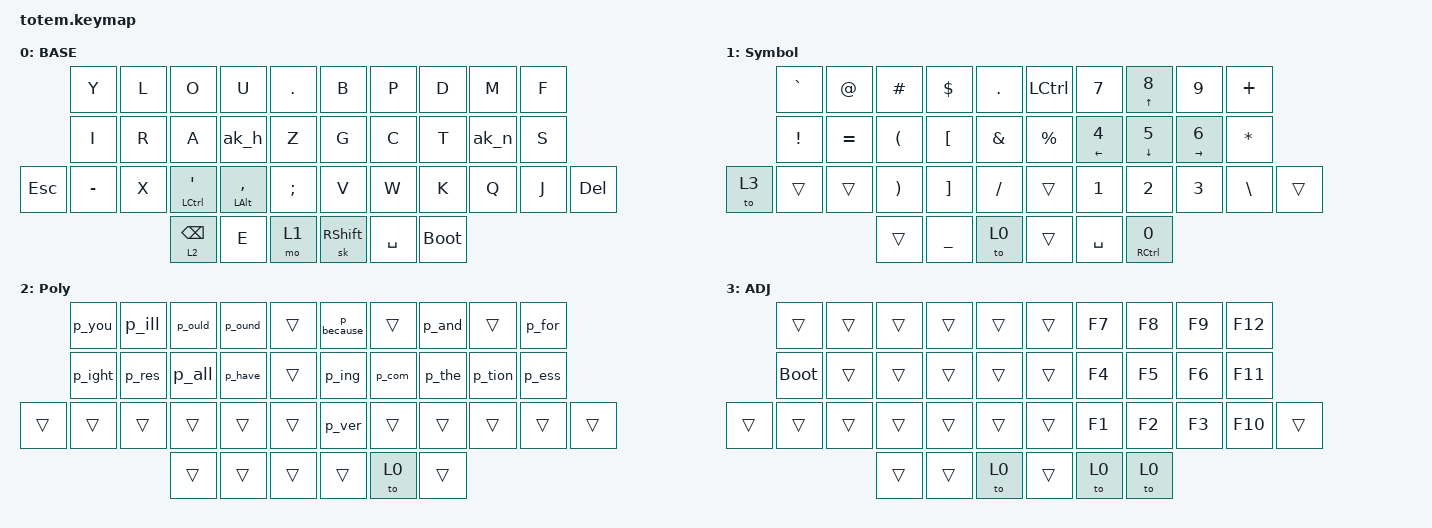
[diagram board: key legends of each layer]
#include <behaviors.dtsi>
#include <dt-bindings/zmk/keys.h>

#define BASE 0
#define NAV  1
#define SYM  2
#define ADJ  3
#define TVP1 4
#define TVP2 5


#define AK_IDLE_MS 850

&mt {
    quick-tap-ms = <175>;
    global-quick-tap;
    flavor = "balanced";
    tapping-term-ms = <280>;
    require-prior-idle-ms = <150>;
    hold-trigger-on-release;
};

&lt {
    flavor = "balanced";
    quick-tap-ms = <175>;
};

&sk {
    quick-release;
    release-after-ms = <850>;
};

/ {
    combos {
        compatible = "zmk,combos";

        Enter {
            bindings = <&kp ENTER>;
            key-positions = <33 36>;
        };

        tab {
            bindings = <&kp TAB>;
            key-positions = <36 34>;
        };
    };

    macros {
        p_the: p_the {
            compatible = "zmk,behavior-macro";
            #binding-cells = <0>;
            bindings = <&kp T &kp H &kp E>;
            label = "P_THE";
        };

        p_ing: p_ing {
            compatible = "zmk,behavior-macro";
            #binding-cells = <0>;
            bindings = <&kp I &kp N &kp G &trans>;
            label = "P_ING";
        };

        p_and: p_and {
            compatible = "zmk,behavior-macro";
            #binding-cells = <0>;
            bindings = <&kp A &kp N &kp D>;
            label = "P_AND";
        };

        p_ould: p_ould {
            compatible = "zmk,behavior-macro";
            #binding-cells = <0>;
            bindings = <&kp O &kp U &kp L &kp D>;
            label = "P_OULD";
        };

        p_have: p_have {
            compatible = "zmk,behavior-macro";
            #binding-cells = <0>;
            bindings = <&kp H &kp A &kp V &kp E>;
            label = "P_HAVE";
        };

        p_all: p_all {
            compatible = "zmk,behavior-macro";
            #binding-cells = <0>;
            bindings = <&kp A &kp L &kp L>;
            label = "P_ALL";
        };

        p_you: p_you {
            compatible = "zmk,behavior-macro";
            #binding-cells = <0>;
            bindings = <&kp Y &kp O &kp U>;
            label = "P_YOU";
        };

        p_ver: p_ver {
            compatible = "zmk,behavior-macro";
            #binding-cells = <0>;
            bindings = <&kp V &kp E &kp R>;
            label = "P_VER";
        };

        p_because: p_because {
            compatible = "zmk,behavior-macro";
            #binding-cells = <0>;
            bindings = <&kp B &kp E &kp C &kp A &kp U &kp S &kp E>;
            label = "P_BECAUSE";
        };

        p_for: p_for {
            compatible = "zmk,behavior-macro";
            #binding-cells = <0>;
            bindings = <&kp F &kp O &kp R>;
            label = "P_FOR";
        };

        p_com: p_com {
            compatible = "zmk,behavior-macro";
            #binding-cells = <0>;
            bindings = <&kp C &kp O &kp M>;
            label = "P_COM";
        };

        p_ill: p_ill {
            compatible = "zmk,behavior-macro";
            #binding-cells = <0>;
            bindings = <&kp I &kp L &kp L>;
            label = "P_ILL";
        };

        p_ess: p_ess {
            compatible = "zmk,behavior-macro";
            #binding-cells = <0>;
            bindings = <&kp E &kp S &kp S>;
            label = "P_ESS";
        };

        p_ound: p_ound {
            compatible = "zmk,behavior-macro";
            #binding-cells = <0>;
            bindings = <&kp O &kp U &kp N &kp D>;
            label = "P_OUND";
        };

        p_res: p_res {
            compatible = "zmk,behavior-macro";
            #binding-cells = <0>;
            bindings = <&kp R &kp E &kp S>;
            label = "P_RES";
        };

        p_tion: p_tion {
            compatible = "zmk,behavior-macro";
            #binding-cells = <0>;
            bindings = <&kp T &kp I &kp O &kp N>;
            label = "P_TION";
        };

        p_ight: p_ight {
            compatible = "zmk,behavior-macro";
            #binding-cells = <0>;
            bindings = <&kp I &kp G &kp H &kp T>;
            label = "P_IGHT";
        };

        p_space: p_space {
            compatible = "zmk,behavior-macro";
            #binding-cells = <0>;
            bindings = <&to 0 &kp SPACE>;
            label = "P_SPACE";
        };

        p_igh: p_igh {
            compatible = "zmk,behavior-macro";
            #binding-cells = <0>;
            bindings = <&kp I &kp G &kp H>;
            label = "P_IGH";
        };

        p_ion: p_ion {
            compatible = "zmk,behavior-macro";
            #binding-cells = <0>;
            bindings = <&kp I &kp O &kp N>;
            label = "P_ION";
        };

        p_ive: p_ive {
            compatible = "zmk,behavior-macro";
            #binding-cells = <0>;
            bindings = <&kp I &kp V &kp E>;
            label = "P_IVE";
        };

        p_ike: p_ike {
            compatible = "zmk,behavior-macro";
            #binding-cells = <0>;
            bindings = <&kp I &kp K &kp E>;
            label = "P_IKE";
        };

        p_int: p_int {
            compatible = "zmk,behavior-macro";
            #binding-cells = <0>;
            bindings = <&kp I &kp N &kp T>;
            label = "P_INT";
        };

        p_ist: p_ist {
            compatible = "zmk,behavior-macro";
            #binding-cells = <0>;
            bindings = <&kp I &kp S &kp T>;
            label = "P_IST";
        };

        p_ith: p_ith {
            compatible = "zmk,behavior-macro";
            #binding-cells = <0>;
            bindings = <&kp I &kp T &kp H>;
            label = "P_ITH";
        };

    };

    behaviors {
        ak_h: ak_h {
            compatible = "zmk,behavior-adaptive-key";
            #binding-cells = <0>;
            bindings = <&kp H>;

//             akt_ah {
//                 trigger-keys = <A>;
//                 max-prior-idle-ms = <AK_IDLE_MS>;
//                 bindings = <&kp N>;
//             };

//             akt_eh {
//                 trigger-keys = <E>;
//                 max-prior-idle-ms = <AK_IDLE_MS>;
//                 bindings = <&kp N>;
//             };

//             akt_ih {
//                 trigger-keys = <I>;
//                 max-prior-idle-ms = <AK_IDLE_MS>;
//                 bindings = <&kp N>;
//             };

//             akt_oh {
//                 trigger-keys = <O>;
//                 max-prior-idle-ms = <AK_IDLE_MS>;
//                 bindings = <&kp N>;
//             };

//            akt_rh {
//                trigger-keys = <R>;
//                max-prior-idle-ms = <AK_IDLE_MS>;
//                bindings = <&kp N>;
//            };

            // These bi-grams aren't used much, so it could be swapped with U, but the 
            // benefit isn't there for the cognitive overhead.

            



            // Swap start


            akt_an {
                trigger-keys = <A>;
                max-prior-idle-ms = <AK_IDLE_MS>;
                bindings = <&kp N &kp D>;
            };

            akt_en {
                trigger-keys = <E>;
                max-prior-idle-ms = <AK_IDLE_MS>;
                bindings = <&kp N &kp T>;
            };

            akt_in {
                trigger-keys = <I>;
                max-prior-idle-ms = <AK_IDLE_MS>;
                bindings = <&kp N &kp G>;
            };

            akt_on {
                trigger-keys = <O>;
                max-prior-idle-ms = <AK_IDLE_MS>;
                bindings = <&kp U &kp T>;
            };


            // swap end

        };

        ak_n: ak_n {
            compatible = "zmk,behavior-adaptive-key";
            #binding-cells = <0>;
            bindings = <&kp N>;

            // swap start

            akt_ch {
                trigger-keys = <C>;
                max-prior-idle-ms = <AK_IDLE_MS>;
                bindings = <&kp O &kp M>;
            };

            akt_sh {
                trigger-keys = <S>;
                max-prior-idle-ms = <AK_IDLE_MS>;
                bindings = <&kp O &kp M &kp E>;
            };

            akt_th {
                trigger-keys = <T>;
                max-prior-idle-ms = <AK_IDLE_MS>;
                bindings = <&kp H &kp E>;
            };

            akt_nh {
                trigger-keys = <N>;
                max-prior-idle-ms = <AK_IDLE_MS>;
                bindings = <&kp N>;
            };

            // swap end

//            akt_cn {
//                trigger-keys = <C>;
//                max-prior-idle-ms = <AK_IDLE_MS>;
//                bindings = <&kp H>;
//            };
//
//            akt_sn {
//                trigger-keys = <S>;
//                max-prior-idle-ms = <AK_IDLE_MS>;
//                bindings = <&kp H>;
//            };
//
//            akt_tn {
//                trigger-keys = <T>;
//                max-prior-idle-ms = <AK_IDLE_MS>;
//                bindings = <&kp H>;
//            };
//
//            akt_hn {
//                trigger-keys = <H>;
//                max-prior-idle-ms = <AK_IDLE_MS>;
//                bindings = <&kp H>;
//            };
        };
    };

    keymap {
        compatible = "zmk,keymap";

        base_layer {
            label = "BASE";
            bindings = <
            &kp Y      &kp L  &kp O                 &kp U               &kp PERIOD       &kp B            &kp P      &kp D                 &kp M  &kp F
            &kp I      &kp R  &kp A                 &ak_h               &kp Z            &kp G            &kp C      &kp T                 &ak_n  &kp S
&kp ESCAPE  &kp MINUS  &kp X  &mt LEFT_CONTROL SQT  &mt LEFT_ALT COMMA  &kp SEMICOLON    &kp V            &kp W      &kp K                 &kp Q  &kp J  &kp DELETE
                              &lt 2 BACKSPACE       &kp E               &mo 1            &sk RIGHT_SHIFT  &kp SPACE  &bootloader
            >;
        };

        Symbol {
            bindings = <
        &kp GRAVE        &kp AT_SIGN  &kp HASH               &kp DOLLAR         &kp PERIOD       &kp LCTRL    &kp N7             &mt UP_ARROW N8       &kp N9              &kp PLUS
        &kp EXCLAMATION  &kp EQUAL    &kp LEFT_PARENTHESIS   &kp LEFT_BRACKET   &kp AMPERSAND    &kp PERCENT  &mt LEFT NUMBER_4  &mt DOWN N5           &mt RIGHT NUMBER_6  &kp ASTERISK
&to 3  &trans           &trans       &kp RIGHT_PARENTHESIS  &kp RIGHT_BRACKET  &kp SLASH        &trans       &kp NUMBER_1       &kp NUMBER_2          &kp NUMBER_3        &kp BACKSLASH  &trans
                                      &trans                 &kp UNDERSCORE     &to 0            &trans       &kp SPACE          &mt RIGHT_CONTROL N0
            >;
        };

        Poly {
            bindings = <
        &p_you   &p_ill  &p_ould  &p_ound  &trans    &p_because  &trans  &p_and  &trans   &p_for
        &p_ight  &p_res  &p_all   &p_have  &trans    &p_ing      &p_com  &p_the  &p_tion  &p_ess
&trans  &trans   &trans  &trans   &trans   &trans    &p_ver      &trans  &trans  &trans   &trans  &trans
                         &trans   &trans   &trans    &trans      &to 0   &trans
            >;
        };

        adjust_layer {
            label = "ADJ";
            bindings = <
        &trans       &trans  &trans  &trans  &trans    &trans  &kp F7  &kp F8  &kp F9  &kp F12
        &bootloader  &trans  &trans  &trans  &trans    &trans  &kp F4  &kp F5  &kp F6  &kp F11
&trans  &trans       &trans  &trans  &trans  &trans    &trans  &kp F1  &kp F2  &kp F3  &kp F10  &trans
                             &trans  &trans  &to 0     &trans  &to 0   &to 0
            >;
        };

    };
};
